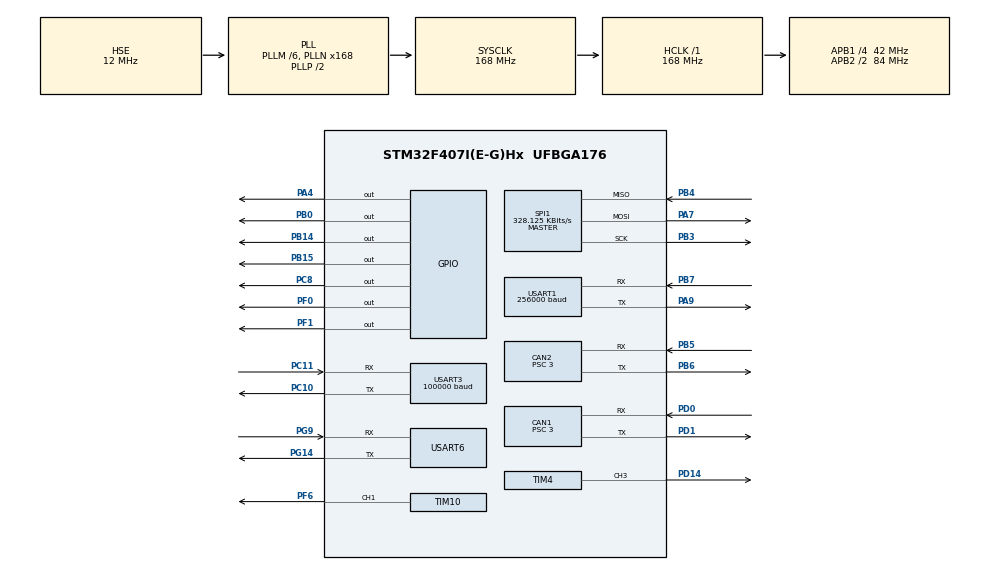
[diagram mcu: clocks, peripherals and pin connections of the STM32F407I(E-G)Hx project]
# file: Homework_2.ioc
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CAN1.BS1=CAN_BS1_6TQ
CAN1.BS2=CAN_BS2_7TQ
CAN1.CalculateBaudRate=1000000
CAN1.CalculateTimeBit=1000
CAN1.CalculateTimeQuantum=71.42857142857143
CAN1.NART=ENABLE
CAN1.Prescaler=3
CAN1.TXFP=ENABLE
CAN2.BS1=CAN_BS1_6TQ
CAN2.BS2=CAN_BS2_7TQ
CAN2.CalculateBaudRate=1000000
CAN2.CalculateTimeBit=1000
CAN2.CalculateTimeQuantum=71.42857142857143
CAN2.NART=ENABLE
CAN2.Prescaler=3
CAN2.RFLM=DISABLE
CAN2.TXFP=ENABLE
Dma.Request0=USART3_RX
Dma.Request1=USART6_RX
Dma.Request2=USART6_TX
Dma.Request3=USART1_TX
Dma.USART1_TX.3.Direction=DMA_MEMORY_TO_PERIPH
Dma.USART1_TX.3.FIFOMode=DMA_FIFOMODE_DISABLE
Dma.USART1_TX.3.Instance=DMA2_Stream7
Dma.USART1_TX.3.MemDataAlignment=DMA_MDATAALIGN_BYTE
Dma.USART1_TX.3.MemInc=DMA_MINC_ENABLE
Dma.USART1_TX.3.Mode=DMA_NORMAL
Dma.USART1_TX.3.PeriphDataAlignment=DMA_PDATAALIGN_BYTE
Dma.USART1_TX.3.PeriphInc=DMA_PINC_DISABLE
Dma.USART1_TX.3.Priority=DMA_PRIORITY_HIGH
Dma.USART3_RX.0.Direction=DMA_PERIPH_TO_MEMORY
Dma.USART3_RX.0.FIFOMode=DMA_FIFOMODE_DISABLE
Dma.USART3_RX.0.Instance=DMA1_Stream1
Dma.USART3_RX.0.MemDataAlignment=DMA_MDATAALIGN_BYTE
Dma.USART3_RX.0.MemInc=DMA_MINC_ENABLE
Dma.USART3_RX.0.Mode=DMA_CIRCULAR
Dma.USART3_RX.0.PeriphDataAlignment=DMA_PDATAALIGN_BYTE
Dma.USART3_RX.0.PeriphInc=DMA_PINC_DISABLE
Dma.USART3_RX.0.Priority=DMA_PRIORITY_VERY_HIGH
Dma.USART6_RX.1.Direction=DMA_PERIPH_TO_MEMORY
Dma.USART6_RX.1.FIFOMode=DMA_FIFOMODE_DISABLE
Dma.USART6_RX.1.Instance=DMA2_Stream1
Dma.USART6_RX.1.MemDataAlignment=DMA_MDATAALIGN_BYTE
Dma.USART6_RX.1.MemInc=DMA_MINC_ENABLE
Dma.USART6_RX.1.Mode=DMA_NORMAL
Dma.USART6_RX.1.PeriphDataAlignment=DMA_PDATAALIGN_BYTE
Dma.USART6_RX.1.PeriphInc=DMA_PINC_DISABLE
Dma.USART6_RX.1.Priority=DMA_PRIORITY_VERY_HIGH
Dma.USART6_TX.2.Direction=DMA_MEMORY_TO_PERIPH
Dma.USART6_TX.2.FIFOMode=DMA_FIFOMODE_DISABLE
Dma.USART6_TX.2.Instance=DMA2_Stream6
Dma.USART6_TX.2.MemDataAlignment=DMA_MDATAALIGN_BYTE
Dma.USART6_TX.2.MemInc=DMA_MINC_ENABLE
Dma.USART6_TX.2.Mode=DMA_NORMAL
Dma.USART6_TX.2.PeriphDataAlignment=DMA_PDATAALIGN_BYTE
Dma.USART6_TX.2.PeriphInc=DMA_PINC_DISABLE
Dma.USART6_TX.2.Priority=DMA_PRIORITY_VERY_HIGH
Mcu.Family=STM32F4
Mcu.Name=STM32F407I(E-G)Hx
Mcu.Package=UFBGA176
NVIC.CAN1_RX0_IRQn=true\:1\:0\:true\:false\:true\:true\:true\:true
NVIC.CAN2_RX1_IRQn=true\:1\:0\:true\:false\:true\:true\:true\:true
NVIC.DMA1_Stream1_IRQn=true\:0\:0\:false\:false\:true\:false\:true\:true
NVIC.DMA2_Stream1_IRQn=true\:0\:0\:false\:false\:true\:false\:true\:true
NVIC.DMA2_Stream6_IRQn=true\:0\:0\:false\:false\:true\:false\:true\:true
NVIC.DMA2_Stream7_IRQn=true\:0\:0\:false\:false\:true\:false\:true\:true
NVIC.PriorityGroup=NVIC_PRIORITYGROUP_4
NVIC.TIM6_DAC_IRQn=true\:2\:0\:true\:false\:true\:true\:true\:true
NVIC.USART3_IRQn=true\:0\:0\:false\:false\:true\:true\:true\:true
NVIC.USART6_IRQn=true\:0\:0\:false\:false\:true\:true\:true\:true
PA13.Mode=Serial_Wire
PA13.Signal=SYS_JTMS-SWDIO
PA14.Mode=Serial_Wire
PA14.Signal=SYS_JTCK-SWCLK
PA4.GPIO_Speed=GPIO_SPEED_FREQ_VERY_HIGH
PA4.PinState=GPIO_PIN_SET
PA4.Signal=GPIO_Output
PA7.Mode=Full_Duplex_Master
PA7.Signal=SPI1_MOSI
PA9.Mode=Asynchronous
PA9.Signal=USART1_TX
PB0.GPIO_Speed=GPIO_SPEED_FREQ_VERY_HIGH
PB0.PinState=GPIO_PIN_SET
PB0.Signal=GPIO_Output
PB14.GPIO_Speed=GPIO_SPEED_FREQ_VERY_HIGH
PB14.PinState=GPIO_PIN_SET
PB14.Signal=GPIO_Output
PB15.GPIO_Speed=GPIO_SPEED_FREQ_VERY_HIGH
PB15.PinState=GPIO_PIN_SET
PB15.Signal=GPIO_Output
PB3.Mode=Full_Duplex_Master
PB3.Signal=SPI1_SCK
PB4.Mode=Full_Duplex_Master
PB4.Signal=SPI1_MISO
PB5.Mode=CAN_Activate
PB5.Signal=CAN2_RX
PB6.Mode=CAN_Activate
PB6.Signal=CAN2_TX
PB7.Mode=Asynchronous
PB7.Signal=USART1_RX
PC10.Mode=Asynchronous
PC10.Signal=USART3_TX
PC11.Mode=Asynchronous
PC11.Signal=USART3_RX
PC8.PinState=GPIO_PIN_RESET
PC8.Signal=GPIO_Output
PD0.Mode=CAN_Activate
PD0.Signal=CAN1_RX
PD1.Mode=CAN_Activate
PD1.Signal=CAN1_TX
PD14.Signal=S_TIM4_CH3
PF0.GPIO_Speed=GPIO_SPEED_FREQ_VERY_HIGH
PF0.PinState=GPIO_PIN_SET
PF0.Signal=GPIO_Output
PF1.GPIO_Speed=GPIO_SPEED_FREQ_VERY_HIGH
PF1.PinState=GPIO_PIN_SET
PF1.Signal=GPIO_Output
PF6.Signal=S_TIM10_CH1
PG14.Mode=Asynchronous
PG14.Signal=USART6_TX
PG9.Mode=Asynchronous
PG9.Signal=USART6_RX
PH0-OSC_IN.Mode=HSE-External-Oscillator
PH0-OSC_IN.Signal=RCC_OSC_IN
PH1-OSC_OUT.Mode=HSE-External-Oscillator
PH1-OSC_OUT.Signal=RCC_OSC_OUT
ProjectManager.HeapSize=0x200
ProjectManager.StackSize=0x400
ProjectManager.TargetToolchain=CMake
RCC.48MHZClocksFreq_Value=84000000
RCC.AHBFreq_Value=168000000
RCC.APB1CLKDivider=RCC_HCLK_DIV4
RCC.APB1Freq_Value=42000000
RCC.APB1TimFreq_Value=84000000
RCC.APB2CLKDivider=RCC_HCLK_DIV2
RCC.APB2Freq_Value=84000000
RCC.APB2TimFreq_Value=168000000
RCC.CortexFreq_Value=168000000
RCC.HCLKFreq_Value=168000000
RCC.HSE_VALUE=12000000
RCC.HSI_VALUE=16000000
RCC.LSE_VALUE=32768
RCC.PLLM=6
RCC.PLLN=168
RCC.PLLSourceVirtual=RCC_PLLSOURCE_HSE
RCC.SYSCLKFreq_VALUE=168000000
RCC.SYSCLKSource=RCC_SYSCLKSOURCE_PLLCLK
RCC.VCOOutputFreq_Value=336000000
SH.S_TIM10_CH1.0=TIM10_CH1,PWM Generation1 CH1
SH.S_TIM4_CH3.0=TIM4_CH3,PWM Generation3 CH3
SPI1.BaudRatePrescaler=SPI_BAUDRATEPRESCALER_256
SPI1.CLKPhase=SPI_PHASE_2EDGE
SPI1.CLKPolarity=SPI_POLARITY_HIGH
SPI1.CalculateBaudRate=328.125 KBits/s
SPI1.Direction=SPI_DIRECTION_2LINES
SPI1.Mode=SPI_MODE_MASTER
SPI1.VirtualType=VM_MASTER
TIM10.Channel=TIM_CHANNEL_1
TIM4.Channel-PWM\ Generation3\ CH3=TIM_CHANNEL_3
TIM4.Period=0
TIM4.Prescaler=84-1
TIM6.Period=1000-1
TIM6.Prescaler=84-1
USART1.BaudRate=256000
USART1.VirtualMode=VM_ASYNC
USART3.BaudRate=100000
USART3.Mode=MODE_RX
USART3.Parity=PARITY_EVEN
USART3.VirtualMode=VM_ASYNC
USART3.WordLength=WORDLENGTH_9B
USART6.VirtualMode=VM_ASYNC
VP_TIM10_VS_ClockSourceINT.Mode=Enable_Timer
VP_TIM4_VS_ClockSourceINT.Mode=Internal
VP_TIM6_VS_ClockSourceINT.Mode=Enable_Timer
board=custom

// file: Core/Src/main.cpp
/* USER CODE BEGIN Header */
/**
  ******************************************************************************
  * @file           : main.c
  * @brief          : Main program body
  ******************************************************************************
  * @attention
  *
  * Copyright (c) 2025 STMicroelectronics.
  * All rights reserved.
  *
  * This software is licensed under terms that can be found in the LICENSE file
  * in the root directory of this software component.
  * If no LICENSE file comes with this software, it is provided AS-IS.
  *
  ******************************************************************************
  */
/* USER CODE END Header */
#include "main.h"
#include "can.h"
#include "dma.h"
#include "spi.h"
#include "tim.h"
#include "usart.h"
#include "gpio.h"

/* USER CODE BEGIN Includes */
#include "HW_can.hpp"
#include "GM6020.hpp"
#include "PID.hpp"
#include <math.h>

/* USER CODE END Includes */

/* USER CODE BEGIN PV */
uint32_t tick;  //全局变量tick，当前时间
extern GM6020 motors[7];
/* USER CODE END PV */

void SystemClock_Config(void);

int main(void)
{

  /* MCU Configuration--------------------------------------------------------*/

  /* Reset of all peripherals, Initializes the Flash interface and the Systick. */
  HAL_Init();

  /* Configure the system clock */
  SystemClock_Config();

  /* Initialize all configured peripherals */
  MX_GPIO_Init();
  MX_DMA_Init();
  MX_CAN1_Init();
  MX_TIM6_Init();
  MX_SPI1_Init();
  MX_TIM4_Init();
  MX_USART3_UART_Init();
  MX_CAN2_Init();
  MX_TIM10_Init();
  MX_USART6_UART_Init();
  MX_USART1_UART_Init();
  /* USER CODE BEGIN 2 */
  CanFilter_Init(&hcan1);
  HAL_CAN_Start(&hcan1);  // 启动CAN
  HAL_CAN_ActivateNotification(&hcan1, CAN_IT_RX_FIFO0_MSG_PENDING);  // 启动接收中断
  HAL_TIM_Base_Start_IT(&htim6);

  PidParams speed_pidparams;
  speed_pidparams.kp = 0.003f;
  speed_pidparams.ki = 0.1f;
  speed_pidparams.kd = 0.00001f;
  speed_pidparams.integral_limit = 10.0f;
  speed_pidparams.output_limit = 2.0f;
  Pid speed_PID(speed_pidparams);

  uint32_t last_speed_time = tick;
  float current_output;
  float T_speed = 0.001f;

  /* USER CODE END 2 */

  /* Infinite loop */
  while (1)
  {

  if ((tick - last_speed_time) >= 2)  // 速度 PID
    {
      float speed_expect = 250 * sin(2 * M_PI * 0.2 * tick * 0.001);
      float speed_real = motors[0].vel();

      current_output = speed_PID.pidCalc(speed_expect, speed_real, T_speed);
      motors[0].setInput(current_output);

      uint8_t can_data[8];
      if (!motors[0].encode(can_data))
        Error_Handler();

      CAN_Send_Msg(&hcan1, can_data, motors[0].txId(), 8);
      last_speed_time = tick;
    }
  }
}

void SystemClock_Config(void)
{
  RCC_OscInitTypeDef RCC_OscInitStruct = {0};
  RCC_ClkInitTypeDef RCC_ClkInitStruct = {0};

  /** Configure the main internal regulator output voltage
  */
  __HAL_RCC_PWR_CLK_ENABLE();
  __HAL_PWR_VOLTAGESCALING_CONFIG(PWR_REGULATOR_VOLTAGE_SCALE1);

  /** Initializes the RCC Oscillators according to the specified parameters
  * in the RCC_OscInitTypeDef structure.
  */
  RCC_OscInitStruct.OscillatorType = RCC_OSCILLATORTYPE_HSE;
  RCC_OscInitStruct.HSEState = RCC_HSE_ON;
  RCC_OscInitStruct.PLL.PLLState = RCC_PLL_ON;
  RCC_OscInitStruct.PLL.PLLSource = RCC_PLLSOURCE_HSE;
  RCC_OscInitStruct.PLL.PLLM = 6;
  RCC_OscInitStruct.PLL.PLLN = 168;
  RCC_OscInitStruct.PLL.PLLP = RCC_PLLP_DIV2;
  RCC_OscInitStruct.PLL.PLLQ = 4;
  if (HAL_RCC_OscConfig(&RCC_OscInitStruct) != HAL_OK)
  {
    Error_Handler();
  }

  /** Initializes the CPU, AHB and APB buses clocks
  */
  RCC_ClkInitStruct.ClockType = RCC_CLOCKTYPE_HCLK|RCC_CLOCKTYPE_SYSCLK
                              |RCC_CLOCKTYPE_PCLK1|RCC_CLOCKTYPE_PCLK2;
  RCC_ClkInitStruct.SYSCLKSource = RCC_SYSCLKSOURCE_PLLCLK;
  RCC_ClkInitStruct.AHBCLKDivider = RCC_SYSCLK_DIV1;
  RCC_ClkInitStruct.APB1CLKDivider = RCC_HCLK_DIV4;
  RCC_ClkInitStruct.APB2CLKDivider = RCC_HCLK_DIV2;

  if (HAL_RCC_ClockConfig(&RCC_ClkInitStruct, FLASH_LATENCY_5) != HAL_OK)
  {
    Error_Handler();
  }
}

/* USER CODE BEGIN 4 */
void  HAL_TIM_PeriodElapsedCallback (TIM_HandleTypeDef   *htim) {
  if (htim->Instance == TIM6) {
    tick ++;    //产生0.5ms的中断，每0.5mstick加1
  }
}
/* USER CODE END 4 */

void Error_Handler(void)
{
  __disable_irq();
  while (1)
  {
  }
}
